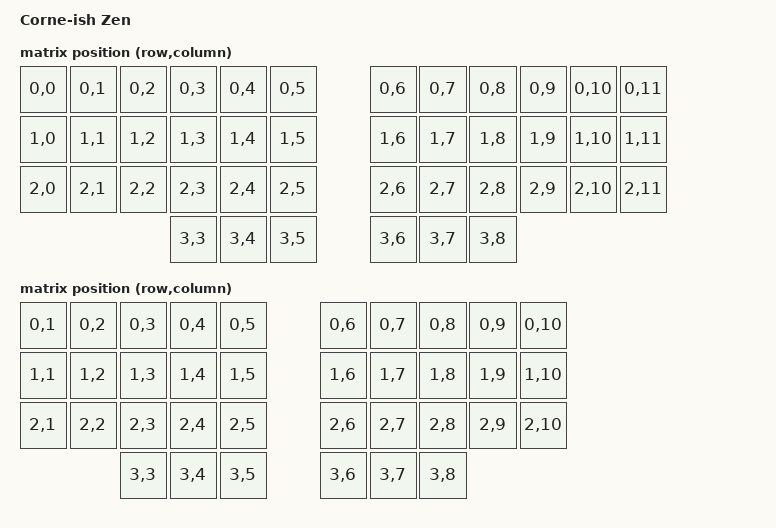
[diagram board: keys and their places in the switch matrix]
/*
*
* Copyright (c) 2021 Darryl deHaan
* SPDX-License-Identifier: MIT
*
*/

/dts-v1/;
#include <nordic/nrf52840_qiaa.dtsi>

#include <dt-bindings/zmk/matrix_transform.h>

/ {
    model = "Corne-ish Zen";
    compatible = "corneish_zen";

    chosen {
        zephyr,code-partition = &code_partition;
        zephyr,sram = &sram0;
        zephyr,flash = &flash0;
        zmk,kscan = &kscan0;
        zmk,display = &epd;
        zephyr,console = &cdc_acm_uart;
        zmk,matrix-transform = &default_transform;
    };

    default_transform: keymap_transform_0 {
        compatible = "zmk,matrix-transform";
        columns = <12>;
        rows = <4>;

            // | SW1  | SW2  | SW3  | SW4  | SW5  | SW6  |   | SW6  | SW5  | SW4  | SW3  | SW2  | SW1  |
            // | SW7  | SW8  | SW9  | SW10 | SW11 | SW12 |   | SW12 | SW11 | SW10 | SW9  | SW8  | SW7  |
            // | SW13 | SW14 | SW15 | SW16 | SW17 | SW18 |   | SW18 | SW17 | SW16 | SW15 | SW14 | SW13 |
            //                      | SW19 | SW20 | SW21 |   | SW21 | SW20 | SW19 |
                    map = <
            RC(0,0) RC(0,1) RC(0,2) RC(0,3) RC(0,4) RC(0,5)  RC(0,6) RC(0,7) RC(0,8) RC(0,9) RC(0,10) RC(0,11)
            RC(1,0) RC(1,1) RC(1,2) RC(1,3) RC(1,4) RC(1,5)  RC(1,6) RC(1,7) RC(1,8) RC(1,9) RC(1,10) RC(1,11)
            RC(2,0) RC(2,1) RC(2,2) RC(2,3) RC(2,4) RC(2,5)  RC(2,6) RC(2,7) RC(2,8) RC(2,9) RC(2,10) RC(2,11)
                                    RC(3,3) RC(3,4) RC(3,5)  RC(3,6) RC(3,7) RC(3,8)
        >;
    };

    five_column_transform: keymap_transform_1 {
        compatible = "zmk,matrix-transform";
        columns = <10>;
        rows = <4>;

            // | SW2  | SW3  | SW4  | SW5  | SW6  |   | SW6  | SW5  | SW4  | SW3  | SW2  |
            // | SW8  | SW9  | SW10 | SW11 | SW12 |   | SW12 | SW11 | SW10 | SW9  | SW8  |
            // | SW14 | SW15 | SW16 | SW17 | SW18 |   | SW18 | SW17 | SW16 | SW15 | SW14 |
            //               | SW19 | SW20 | SW21 |   | SW21 | SW20 | SW19 |
        map = <
            RC(0,1) RC(0,2) RC(0,3) RC(0,4) RC(0,5)  RC(0,6) RC(0,7) RC(0,8) RC(0,9) RC(0,10)
            RC(1,1) RC(1,2) RC(1,3) RC(1,4) RC(1,5)  RC(1,6) RC(1,7) RC(1,8) RC(1,9) RC(1,10)
            RC(2,1) RC(2,2) RC(2,3) RC(2,4) RC(2,5)  RC(2,6) RC(2,7) RC(2,8) RC(2,9) RC(2,10)
                            RC(3,3) RC(3,4) RC(3,5)  RC(3,6) RC(3,7) RC(3,8)
        >;
    };

};

&adc {
    status = "okay";
};

&gpiote {
    status = "okay";
};

&gpio0 {
    status = "okay";
};

&gpio1 {
    status = "okay";
};

&usbd {
    status = "okay";
    cdc_acm_uart: cdc_acm_uart {
        compatible = "zephyr,cdc-acm-uart";
    };
};

&flash0 {
    /*
     * For more information, see:
     * http://docs.zephyrproject.org/latest/devices/dts/flash_partitions.html
     */
    partitions {
        compatible = "fixed-partitions";
        #address-cells = <1>;
        #size-cells = <1>;

        sd_partition: partition@0 {
            reg = <0x00000000 0x00026000>;
        };
        code_partition: partition@26000 {
            reg = <0x00026000 0x000c6000>;
        };

        /*
         * The flash starting at 0x000ec000 and ending at
         * 0x000f3fff is reserved for use by the application.
         */

        /*
         * Storage partition will be used by FCB/LittleFS/NVS
         * if enabled.
         */
        storage_partition: partition@ec000 {
            reg = <0x000ec000 0x00008000>;
        };

        boot_partition: partition@f4000 {
            reg = <0x000f4000 0x0000c000>;
        };
    };
};
